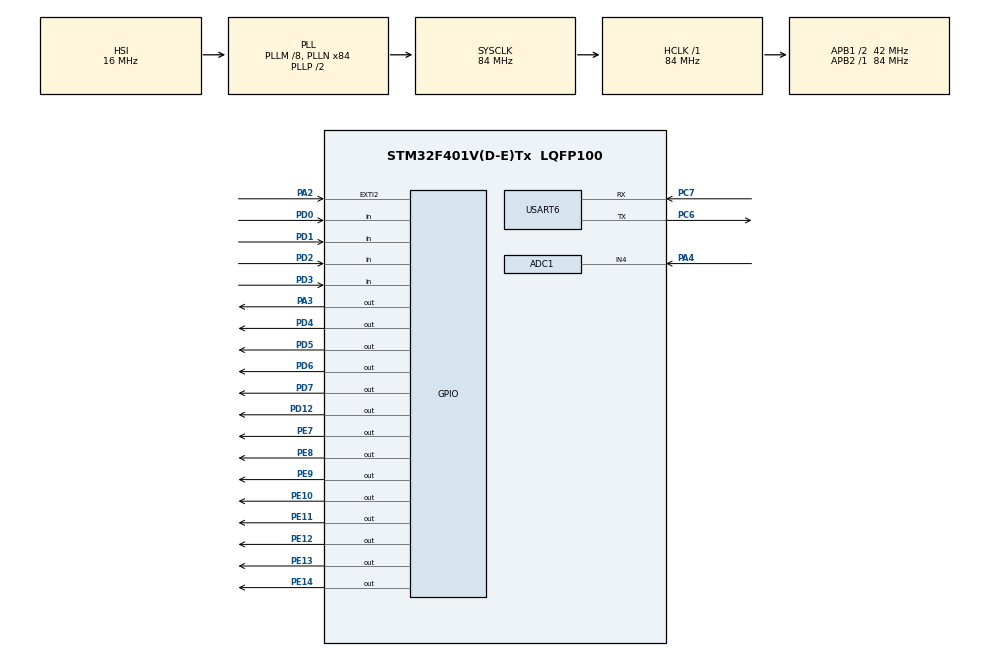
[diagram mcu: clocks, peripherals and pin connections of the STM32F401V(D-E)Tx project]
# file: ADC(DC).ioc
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ADC1.Channel-0\#ChannelRegularConversion=ADC_CHANNEL_4
ADC1.ContinuousConvMode=ENABLE
ADC1.NbrOfConversion=1
ADC1.NbrOfConversionFlag=1
ADC1.Rank-0\#ChannelRegularConversion=1
ADC1.SamplingTime-0\#ChannelRegularConversion=ADC_SAMPLETIME_480CYCLES
ADC1.ScanConvMode=ENABLE
ADC1.master=1
Dma.Request0=USART6_RX
Dma.USART6_RX.0.Direction=DMA_PERIPH_TO_MEMORY
Dma.USART6_RX.0.FIFOMode=DMA_FIFOMODE_DISABLE
Dma.USART6_RX.0.Instance=DMA2_Stream1
Dma.USART6_RX.0.MemDataAlignment=DMA_MDATAALIGN_BYTE
Dma.USART6_RX.0.MemInc=DMA_MINC_ENABLE
Dma.USART6_RX.0.Mode=DMA_CIRCULAR
Dma.USART6_RX.0.PeriphDataAlignment=DMA_PDATAALIGN_BYTE
Dma.USART6_RX.0.PeriphInc=DMA_PINC_DISABLE
Dma.USART6_RX.0.Priority=DMA_PRIORITY_LOW
Mcu.Family=STM32F4
Mcu.Name=STM32F401V(D-E)Tx
Mcu.Package=LQFP100
NVIC.DMA2_Stream1_IRQn=true\:0\:0\:false\:false\:true\:false\:true
NVIC.EXTI2_IRQn=true\:0\:0\:true\:false\:true\:true\:true
NVIC.PriorityGroup=NVIC_PRIORITYGROUP_4
NVIC.TIM2_IRQn=true\:0\:0\:false\:false\:true\:true\:true
PA2.Signal=GPXTI2
PA3.Signal=GPIO_Output
PA4.Signal=ADCx_IN4
PC6.Mode=Asynchronous
PC6.Signal=USART6_TX
PC7.Mode=Asynchronous
PC7.Signal=USART6_RX
PD0.GPIO_PuPd=GPIO_PULLUP
PD0.Signal=GPIO_Input
PD1.GPIO_PuPd=GPIO_PULLUP
PD1.Signal=GPIO_Input
PD12.Signal=GPIO_Output
PD2.GPIO_PuPd=GPIO_PULLUP
PD2.Signal=GPIO_Input
PD3.GPIO_PuPd=GPIO_PULLUP
PD3.Signal=GPIO_Input
PD4.Signal=GPIO_Output
PD5.Signal=GPIO_Output
PD6.Signal=GPIO_Output
PD7.Signal=GPIO_Output
PE10.Signal=GPIO_Output
PE11.Signal=GPIO_Output
PE12.Signal=GPIO_Output
PE13.Signal=GPIO_Output
PE14.Signal=GPIO_Output
PE7.Signal=GPIO_Output
PE8.Signal=GPIO_Output
PE9.Signal=GPIO_Output
PH0\ -\ OSC_IN.Mode=HSE-External-Oscillator
PH0\ -\ OSC_IN.Signal=RCC_OSC_IN
PH1\ -\ OSC_OUT.Mode=HSE-External-Oscillator
PH1\ -\ OSC_OUT.Signal=RCC_OSC_OUT
ProjectManager.HeapSize=0x200
ProjectManager.StackSize=0x400
ProjectManager.TargetToolchain=MDK-ARM V5.27
RCC.48MHZClocksFreq_Value=42000000
RCC.AHBFreq_Value=84000000
RCC.APB1CLKDivider=RCC_HCLK_DIV2
RCC.APB1Freq_Value=42000000
RCC.APB1TimFreq_Value=84000000
RCC.APB2Freq_Value=84000000
RCC.APB2TimFreq_Value=84000000
RCC.CortexFreq_Value=84000000
RCC.HCLKFreq_Value=84000000
RCC.HSE_VALUE=25000000
RCC.HSI_VALUE=16000000
RCC.LSE_VALUE=32768
RCC.PLLM=8
RCC.PLLN=84
RCC.SYSCLKFreq_VALUE=84000000
RCC.SYSCLKSource=RCC_SYSCLKSOURCE_PLLCLK
RCC.VCOOutputFreq_Value=168000000
SH.ADCx_IN4.0=ADC1_IN4,IN4
TIM2.AutoReloadPreload=TIM_AUTORELOAD_PRELOAD_ENABLE
TIM2.Period=9
TIM2.Prescaler=42
TIM2.TIM_MasterOutputTrigger=TIM_TRGO_UPDATE
USART6.VirtualMode=VM_ASYNC
VP_TIM2_VS_ClockSourceINT.Mode=Internal
board=custom

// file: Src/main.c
/* USER CODE BEGIN Header */
/**
  ******************************************************************************
  * @file           : main.c
  * @brief          : Main program body
  ******************************************************************************
  * @attention
  *
  * <h2><center>&copy; Copyright (c) 2020 STMicroelectronics.
  * All rights reserved.</center></h2>
  *
  * This software component is licensed by ST under BSD 3-Clause license,
  * the "License"; You may not use this file except in compliance with the
  * License. You may obtain a copy of the License at:
  *                        opensource.org/licenses/BSD-3-Clause
  *
  ******************************************************************************
  */
/* USER CODE END Header */
#include "main.h"

/* USER CODE BEGIN Includes */
#include"math.h"

#include "string.h"
#include "stdio.h"
#include "math.h"
#include "stm32f4xx_hal.h"
#include "stdlib.h"
/* USER CODE END Includes */

/* USER CODE BEGIN PTD */

int dataADC,dataADC2,dataADC3;
float Voltage,Voltage2;
float VDC;
float ecurrent;
float offset = 2500;
float sensitivity=100;
char buff[15];
char buff2[15];
char buff3[15];
char buff4[99]="0";
char TX_Data[99]="0";
char RX_Data[2]="0";
float daya;
int flag =0;
int flag2=0;
unsigned int millis=0;
unsigned int millis_serial=0;
int c1=0;
int dat=0;
float sudutPenyalaan=90;
int count=0;
int cDelay=0;
int del=1000;
int relay_state=0;
int set_point=0;
//protokol
char header[15]="$fauqi";
char suhu[15]="50";
char tegangan[15]="150";
char sudut_penyalaan[15]="120";
char error[15]="40";
char derror[15]="5";
char out_fuzzy[15]="0.5";
char crelay_state[15]="0";
char cset_point[15]="0";
char koma[15]=",";
char b[15]="\r\n";
int flag_konv=0;
char blutut_tx[20];
/* USER CODE END PTD */

ADC_HandleTypeDef hadc1;

TIM_HandleTypeDef htim2;

UART_HandleTypeDef huart6;
DMA_HandleTypeDef hdma_usart6_rx;

/* USER CODE BEGIN PV */
__IO uint16_t ADC_value[1];
/* USER CODE END PV */

void SystemClock_Config(void);
static void MX_GPIO_Init(void);
static void MX_ADC1_Init(void);
static void MX_TIM2_Init(void);
static void MX_DMA_Init(void);
static void MX_USART6_UART_Init(void);

/* USER CODE BEGIN 0 */
uint16_t adcval,LDRVAL,LDR2VAL;
float LDR,LDR2;
float temp;

/* USER CODE END 0 */

int main(void)
{

  /* MCU Configuration--------------------------------------------------------*/

  /* Reset of all peripherals, Initializes the Flash interface and the Systick. */
  HAL_Init();

  /* Configure the system clock */
  SystemClock_Config();

  /* Initialize all configured peripherals */
  MX_GPIO_Init();
  MX_ADC1_Init();
  MX_TIM2_Init();
  MX_DMA_Init();
  MX_USART6_UART_Init();
  /* USER CODE BEGIN 2 */
	HAL_TIM_Base_Start_IT(&htim2);

	HAL_ADC_Start_DMA(&hadc1,(uint32_t*)&ADC_value,5);
	HAL_TIM_Base_Start_IT(&htim2);
	HAL_ADC_Start_DMA(&hadc1,(uint32_t*)&ADC_value,5);
		HAL_ADC_Start(&hadc1);
  /* USER CODE END 2 */

  /* Infinite loop */
  /* USER CODE BEGIN WHILE */
  while (1)
  {
		HAL_ADC_PollForConversion(&hadc1,20);
		adcval=HAL_ADC_GetValue(&hadc1)-50;
		temp=((adcval/4095.0)*3300)/10;
		sprintf(blutut_tx,"A%0.2f%dB",temp,adcval);
		HAL_UART_Transmit_IT(&huart6, (uint8_t *) blutut_tx,strlen(blutut_tx));

//	if (temp>40)
//		count=11000;
		if (HAL_GPIO_ReadPin(GPIOD,GPIO_PIN_0))
			HAL_GPIO_WritePin(GPIOD,GPIO_PIN_7|GPIO_PIN_5,GPIO_PIN_RESET);
		else HAL_GPIO_WritePin(GPIOD,GPIO_PIN_7|GPIO_PIN_5,GPIO_PIN_SET);

		if (HAL_GPIO_ReadPin(GPIOD,GPIO_PIN_1))
				HAL_GPIO_WritePin(GPIOD,GPIO_PIN_6|GPIO_PIN_5,GPIO_PIN_RESET);
			else HAL_GPIO_WritePin(GPIOD,GPIO_PIN_6|GPIO_PIN_5,GPIO_PIN_SET);

		HAL_Delay(500);
    /* USER CODE END WHILE */

  }
}

void SystemClock_Config(void)
{
  RCC_OscInitTypeDef RCC_OscInitStruct = {0};
  RCC_ClkInitTypeDef RCC_ClkInitStruct = {0};

  /** Configure the main internal regulator output voltage
  */
  __HAL_RCC_PWR_CLK_ENABLE();
  __HAL_PWR_VOLTAGESCALING_CONFIG(PWR_REGULATOR_VOLTAGE_SCALE2);
  /** Initializes the RCC Oscillators according to the specified parameters
  * in the RCC_OscInitTypeDef structure.
  */
  RCC_OscInitStruct.OscillatorType = RCC_OSCILLATORTYPE_HSI;
  RCC_OscInitStruct.HSIState = RCC_HSI_ON;
  RCC_OscInitStruct.HSICalibrationValue = RCC_HSICALIBRATION_DEFAULT;
  RCC_OscInitStruct.PLL.PLLState = RCC_PLL_ON;
  RCC_OscInitStruct.PLL.PLLSource = RCC_PLLSOURCE_HSI;
  RCC_OscInitStruct.PLL.PLLM = 8;
  RCC_OscInitStruct.PLL.PLLN = 84;
  RCC_OscInitStruct.PLL.PLLP = RCC_PLLP_DIV2;
  RCC_OscInitStruct.PLL.PLLQ = 4;
  if (HAL_RCC_OscConfig(&RCC_OscInitStruct) != HAL_OK)
  {
    Error_Handler();
  }
  /** Initializes the CPU, AHB and APB buses clocks
  */
  RCC_ClkInitStruct.ClockType = RCC_CLOCKTYPE_HCLK|RCC_CLOCKTYPE_SYSCLK
                              |RCC_CLOCKTYPE_PCLK1|RCC_CLOCKTYPE_PCLK2;
  RCC_ClkInitStruct.SYSCLKSource = RCC_SYSCLKSOURCE_PLLCLK;
  RCC_ClkInitStruct.AHBCLKDivider = RCC_SYSCLK_DIV1;
  RCC_ClkInitStruct.APB1CLKDivider = RCC_HCLK_DIV2;
  RCC_ClkInitStruct.APB2CLKDivider = RCC_HCLK_DIV1;

  if (HAL_RCC_ClockConfig(&RCC_ClkInitStruct, FLASH_LATENCY_2) != HAL_OK)
  {
    Error_Handler();
  }
}

static void MX_ADC1_Init(void)
{

  ADC_ChannelConfTypeDef sConfig = {0};

  /** Configure the global features of the ADC (Clock, Resolution, Data Alignment and number of conversion)
  */
  hadc1.Instance = ADC1;
  hadc1.Init.ClockPrescaler = ADC_CLOCK_SYNC_PCLK_DIV4;
  hadc1.Init.Resolution = ADC_RESOLUTION_12B;
  hadc1.Init.ScanConvMode = ENABLE;
  hadc1.Init.ContinuousConvMode = ENABLE;
  hadc1.Init.DiscontinuousConvMode = DISABLE;
  hadc1.Init.ExternalTrigConvEdge = ADC_EXTERNALTRIGCONVEDGE_NONE;
  hadc1.Init.ExternalTrigConv = ADC_SOFTWARE_START;
  hadc1.Init.DataAlign = ADC_DATAALIGN_RIGHT;
  hadc1.Init.NbrOfConversion = 1;
  hadc1.Init.DMAContinuousRequests = DISABLE;
  hadc1.Init.EOCSelection = ADC_EOC_SINGLE_CONV;
  if (HAL_ADC_Init(&hadc1) != HAL_OK)
  {
    Error_Handler();
  }
  /** Configure for the selected ADC regular channel its corresponding rank in the sequencer and its sample time.
  */
  sConfig.Channel = ADC_CHANNEL_4;
  sConfig.Rank = 1;
  sConfig.SamplingTime = ADC_SAMPLETIME_480CYCLES;
  if (HAL_ADC_ConfigChannel(&hadc1, &sConfig) != HAL_OK)
  {
    Error_Handler();
  }

}

static void MX_TIM2_Init(void)
{

  TIM_ClockConfigTypeDef sClockSourceConfig = {0};
  TIM_MasterConfigTypeDef sMasterConfig = {0};

  htim2.Instance = TIM2;
  htim2.Init.Prescaler = 42;
  htim2.Init.CounterMode = TIM_COUNTERMODE_UP;
  htim2.Init.Period = 9;
  htim2.Init.ClockDivision = TIM_CLOCKDIVISION_DIV1;
  htim2.Init.AutoReloadPreload = TIM_AUTORELOAD_PRELOAD_ENABLE;
  if (HAL_TIM_Base_Init(&htim2) != HAL_OK)
  {
    Error_Handler();
  }
  sClockSourceConfig.ClockSource = TIM_CLOCKSOURCE_INTERNAL;
  if (HAL_TIM_ConfigClockSource(&htim2, &sClockSourceConfig) != HAL_OK)
  {
    Error_Handler();
  }
  sMasterConfig.MasterOutputTrigger = TIM_TRGO_UPDATE;
  sMasterConfig.MasterSlaveMode = TIM_MASTERSLAVEMODE_DISABLE;
  if (HAL_TIMEx_MasterConfigSynchronization(&htim2, &sMasterConfig) != HAL_OK)
  {
    Error_Handler();
  }

}

static void MX_USART6_UART_Init(void)
{

  huart6.Instance = USART6;
  huart6.Init.BaudRate = 115200;
  huart6.Init.WordLength = UART_WORDLENGTH_8B;
  huart6.Init.StopBits = UART_STOPBITS_1;
  huart6.Init.Parity = UART_PARITY_NONE;
  huart6.Init.Mode = UART_MODE_TX_RX;
  huart6.Init.HwFlowCtl = UART_HWCONTROL_NONE;
  huart6.Init.OverSampling = UART_OVERSAMPLING_16;
  if (HAL_UART_Init(&huart6) != HAL_OK)
  {
    Error_Handler();
  }

}

static void MX_DMA_Init(void)
{

  /* DMA controller clock enable */
  __HAL_RCC_DMA2_CLK_ENABLE();

  /* DMA interrupt init */
  /* DMA2_Stream1_IRQn interrupt configuration */
  HAL_NVIC_SetPriority(DMA2_Stream1_IRQn, 0, 0);
  HAL_NVIC_EnableIRQ(DMA2_Stream1_IRQn);

}

static void MX_GPIO_Init(void)
{
  GPIO_InitTypeDef GPIO_InitStruct = {0};

  /* GPIO Ports Clock Enable */
  __HAL_RCC_GPIOH_CLK_ENABLE();
  __HAL_RCC_GPIOA_CLK_ENABLE();
  __HAL_RCC_GPIOE_CLK_ENABLE();
  __HAL_RCC_GPIOD_CLK_ENABLE();
  __HAL_RCC_GPIOC_CLK_ENABLE();

  /*Configure GPIO pin Output Level */
  HAL_GPIO_WritePin(GPIOA, GPIO_PIN_3, GPIO_PIN_RESET);

  /*Configure GPIO pin Output Level */
  HAL_GPIO_WritePin(GPIOE, GPIO_PIN_7|GPIO_PIN_8|GPIO_PIN_9|GPIO_PIN_10
                          |GPIO_PIN_11|GPIO_PIN_12|GPIO_PIN_13|GPIO_PIN_14, GPIO_PIN_RESET);

  /*Configure GPIO pin Output Level */
  HAL_GPIO_WritePin(GPIOD, GPIO_PIN_12|GPIO_PIN_4|GPIO_PIN_5|GPIO_PIN_6
                          |GPIO_PIN_7, GPIO_PIN_RESET);

  /*Configure GPIO pin : PA2 */
  GPIO_InitStruct.Pin = GPIO_PIN_2;
  GPIO_InitStruct.Mode = GPIO_MODE_IT_RISING;
  GPIO_InitStruct.Pull = GPIO_NOPULL;
  HAL_GPIO_Init(GPIOA, &GPIO_InitStruct);

  /*Configure GPIO pin : PA3 */
  GPIO_InitStruct.Pin = GPIO_PIN_3;
  GPIO_InitStruct.Mode = GPIO_MODE_OUTPUT_PP;
  GPIO_InitStruct.Pull = GPIO_NOPULL;
  GPIO_InitStruct.Speed = GPIO_SPEED_FREQ_LOW;
  HAL_GPIO_Init(GPIOA, &GPIO_InitStruct);

  /*Configure GPIO pins : PE7 PE8 PE9 PE10
                           PE11 PE12 PE13 PE14 */
  GPIO_InitStruct.Pin = GPIO_PIN_7|GPIO_PIN_8|GPIO_PIN_9|GPIO_PIN_10
                          |GPIO_PIN_11|GPIO_PIN_12|GPIO_PIN_13|GPIO_PIN_14;
  GPIO_InitStruct.Mode = GPIO_MODE_OUTPUT_PP;
  GPIO_InitStruct.Pull = GPIO_NOPULL;
  GPIO_InitStruct.Speed = GPIO_SPEED_FREQ_LOW;
  HAL_GPIO_Init(GPIOE, &GPIO_InitStruct);

  /*Configure GPIO pins : PD12 PD4 PD5 PD6
                           PD7 */
  GPIO_InitStruct.Pin = GPIO_PIN_12|GPIO_PIN_4|GPIO_PIN_5|GPIO_PIN_6
                          |GPIO_PIN_7;
  GPIO_InitStruct.Mode = GPIO_MODE_OUTPUT_PP;
  GPIO_InitStruct.Pull = GPIO_NOPULL;
  GPIO_InitStruct.Speed = GPIO_SPEED_FREQ_LOW;
  HAL_GPIO_Init(GPIOD, &GPIO_InitStruct);

  /*Configure GPIO pins : PD0 PD1 PD2 PD3 */
  GPIO_InitStruct.Pin = GPIO_PIN_0|GPIO_PIN_1|GPIO_PIN_2|GPIO_PIN_3;
  GPIO_InitStruct.Mode = GPIO_MODE_INPUT;
  GPIO_InitStruct.Pull = GPIO_PULLUP;
  HAL_GPIO_Init(GPIOD, &GPIO_InitStruct);

  /* EXTI interrupt init*/
  HAL_NVIC_SetPriority(EXTI2_IRQn, 0, 0);
  HAL_NVIC_EnableIRQ(EXTI2_IRQn);

}

/* USER CODE BEGIN 4 */
void HAL_TIM_PeriodElapsedCallback(TIM_HandleTypeDef *htim)
{
  /* Prevent unused argument(s) compilation warning */
  UNUSED(htim);

  /* NOTE : This function should not be modified, when the callback is needed,
            the HAL_TIM_PeriodElapsedCallback could be implemented in the user file
   */

	millis_serial=millis_serial+1;

	if(millis_serial>=200000)
	{
	//dat=dat+1;
//			intToStr(dat,TX_Data,5);
		//	HAL_UART_Transmit_IT(&huart6,(uint8_t *)TX_Data,strlen(TX_Data));
			HAL_GPIO_TogglePin(GPIOD,GPIO_PIN_12);
			millis_serial=0;
	}

	count=5000;

	//1000=90 derajat
	if(flag_konv==1)
		millis=millis+1;
	if (millis>=count)
	{
//ketemu 5us
			HAL_GPIO_WritePin(GPIOA,GPIO_PIN_3,GPIO_PIN_SET);
			flag_konv=0;
			millis=0;
	}
//	count=1000;
//	if(flag_konv==1)
//	{
//		millis=millis+1;
//	if (millis>=count)
//	{
////ktemu 5us
//			HAL_GPIO_WritePin(GPIOA,GPIO_PIN_3,GPIO_PIN_SET);
//		  if(millis>=count+50)
//			{
//			HAL_GPIO_WritePin(GPIOA,GPIO_PIN_3,GPIO_PIN_RESET);
//			millis=0;
//			flag_konv=0;
//			}

//	}
//}
}
void HAL_UART_RxCpltCallback(UART_HandleTypeDef *huart)
{
  /* Prevent unused argument(s) compilation warning */
  UNUSED(huart);
  /* NOTE: This function should not be modified, when the callback is needed,
           the HAL_UART_RxCpltCallback could be implemented in the user file
   */
	if(strlen(RX_Data)<=2){
//	HAL_UART_Receive_IT(&huart6, (uint8_t *)RX_Data,2);
	int data;
	if(strncmp(RX_Data,"lontong",strlen(RX_Data))==0){}
	data=atoi(RX_Data);
	if(data == 40)set_point=40;
	else if (data==50)set_point=50;
	else if (data ==61)set_point=61;
	else if(data==10) {relay_state=1;HAL_GPIO_WritePin(GPIOA,GPIO_PIN_4,GPIO_PIN_SET);}
	else if(data==11){relay_state=0;HAL_GPIO_WritePin(GPIOA,GPIO_PIN_4,GPIO_PIN_RESET);}
	else if(data==20) {relay_state=1;HAL_GPIO_WritePin(GPIOE,GPIO_PIN_7,GPIO_PIN_SET);}
	else if(data==21){relay_state=0;HAL_GPIO_WritePin(GPIOE,GPIO_PIN_7,GPIO_PIN_RESET);}
	strcpy(RX_Data,"");
	}
	else{}

}
void HAL_GPIO_EXTI_Callback(uint16_t GPIO_Pin)
{
  /* Prevent unused argument(s) compilation warning */
  UNUSED(GPIO_Pin);
  /* NOTE: This function Should not be modified, when the callback is needed,
           the HAL_GPIO_EXTI_Callback could be implemented in the user file
   */
	//for(int i=0;i<4000;i++){}
	if(HAL_GPIO_ReadPin(GPIOA,GPIO_PIN_2)==1)
		{flag_konv=1;
	//del=del+1000;
	HAL_GPIO_WritePin(GPIOA,GPIO_PIN_3,GPIO_PIN_RESET);
	//while(HAL_GPIO_ReadPin(GPIOC,GPIO_PIN_8)==1);
	}
}
/* USER CODE END 4 */

void Error_Handler(void)
{
}
